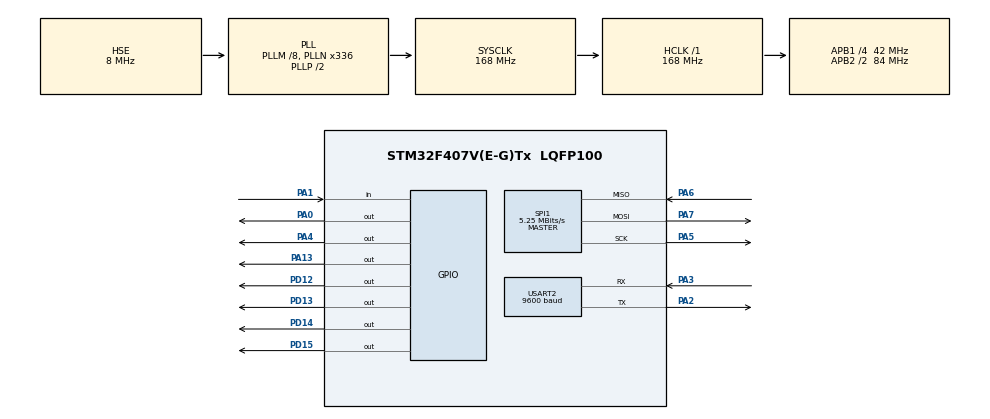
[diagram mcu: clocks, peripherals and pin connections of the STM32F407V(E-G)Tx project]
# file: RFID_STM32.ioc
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Mcu.Family=STM32F4
Mcu.Name=STM32F407V(E-G)Tx
Mcu.Package=LQFP100
NVIC.PriorityGroup=NVIC_PRIORITYGROUP_4
NVIC.USART2_IRQn=true\:0\:0\:false\:false\:true\:true
PA0-WKUP.GPIO_ModeDefaultOutputPP=GPIO_MODE_OUTPUT_PP
PA0-WKUP.GPIO_PuPd=GPIO_PULLUP
PA0-WKUP.GPIO_Speed=GPIO_SPEED_FREQ_VERY_HIGH
PA0-WKUP.PinState=GPIO_PIN_RESET
PA0-WKUP.Signal=GPIO_Output
PA1.GPIO_PuPd=GPIO_PULLUP
PA1.Signal=GPIO_Input
PA13.GPIO_ModeDefaultOutputPP=GPIO_MODE_OUTPUT_PP
PA13.GPIO_PuPd=GPIO_PULLUP
PA13.GPIO_Speed=GPIO_SPEED_FREQ_VERY_HIGH
PA13.PinState=GPIO_PIN_RESET
PA13.Signal=GPIO_Output
PA2.Mode=Asynchronous
PA2.Signal=USART2_TX
PA3.Mode=Asynchronous
PA3.Signal=USART2_RX
PA4.GPIO_ModeDefaultOutputPP=GPIO_MODE_OUTPUT_PP
PA4.GPIO_PuPd=GPIO_PULLUP
PA4.GPIO_Speed=GPIO_SPEED_FREQ_VERY_HIGH
PA4.PinState=GPIO_PIN_RESET
PA4.Signal=GPIO_Output
PA5.Mode=Full_Duplex_Master
PA5.Signal=SPI1_SCK
PA6.Mode=Full_Duplex_Master
PA6.Signal=SPI1_MISO
PA7.Mode=Full_Duplex_Master
PA7.Signal=SPI1_MOSI
PD12.GPIO_ModeDefaultOutputPP=GPIO_MODE_OUTPUT_PP
PD12.GPIO_PuPd=GPIO_PULLUP
PD12.GPIO_Speed=GPIO_SPEED_FREQ_VERY_HIGH
PD12.PinState=GPIO_PIN_RESET
PD12.Signal=GPIO_Output
PD13.GPIO_ModeDefaultOutputPP=GPIO_MODE_OUTPUT_PP
PD13.GPIO_PuPd=GPIO_PULLUP
PD13.GPIO_Speed=GPIO_SPEED_FREQ_VERY_HIGH
PD13.PinState=GPIO_PIN_RESET
PD13.Signal=GPIO_Output
PD14.GPIO_ModeDefaultOutputPP=GPIO_MODE_OUTPUT_PP
PD14.GPIO_PuPd=GPIO_PULLUP
PD14.GPIO_Speed=GPIO_SPEED_FREQ_VERY_HIGH
PD14.PinState=GPIO_PIN_RESET
PD14.Signal=GPIO_Output
PD15.GPIO_ModeDefaultOutputPP=GPIO_MODE_OUTPUT_PP
PD15.GPIO_PuPd=GPIO_PULLUP
PD15.GPIO_Speed=GPIO_SPEED_FREQ_VERY_HIGH
PD15.PinState=GPIO_PIN_RESET
PD15.Signal=GPIO_Output
PH0-OSC_IN.Mode=HSE-External-Oscillator
PH0-OSC_IN.Signal=RCC_OSC_IN
PH1-OSC_OUT.Mode=HSE-External-Oscillator
PH1-OSC_OUT.Signal=RCC_OSC_OUT
ProjectManager.HeapSize=0x200
ProjectManager.StackSize=0x400
ProjectManager.TargetToolchain=MDK-ARM V5
RCC.48MHZClocksFreq_Value=84000000
RCC.AHBFreq_Value=168000000
RCC.APB1CLKDivider=RCC_HCLK_DIV4
RCC.APB1Freq_Value=42000000
RCC.APB1TimFreq_Value=84000000
RCC.APB2CLKDivider=RCC_HCLK_DIV2
RCC.APB2Freq_Value=84000000
RCC.APB2TimFreq_Value=168000000
RCC.CortexFreq_Value=168000000
RCC.HCLKFreq_Value=168000000
RCC.HSE_VALUE=8000000
RCC.HSI_VALUE=16000000
RCC.LSE_VALUE=32768
RCC.PLLM=8
RCC.PLLN=336
RCC.PLLSourceVirtual=RCC_PLLSOURCE_HSE
RCC.SYSCLKFreq_VALUE=168000000
RCC.SYSCLKSource=RCC_SYSCLKSOURCE_PLLCLK
RCC.VCOOutputFreq_Value=336000000
SPI1.BaudRatePrescaler=SPI_BAUDRATEPRESCALER_16
SPI1.CalculateBaudRate=5.25 MBits/s
SPI1.Direction=SPI_DIRECTION_2LINES
SPI1.Mode=SPI_MODE_MASTER
SPI1.VirtualType=VM_MASTER
USART2.BaudRate=9600
USART2.VirtualMode=VM_ASYNC
board=RFID_STM32

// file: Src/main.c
/**
  ******************************************************************************
  * @file           : main.c
  * @brief          : Main program body
  ******************************************************************************
  ** This notice applies to any and all portions of this file
  * that are not between comment pairs USER CODE BEGIN and
  * USER CODE END. Other portions of this file, whether
  * inserted by the user or by software development tools
  * are owned by their respective copyright owners.
  *
  * COPYRIGHT(c) 2018 STMicroelectronics
  *
  * Redistribution and use in source and binary forms, with or without modification,
  * are permitted provided that the following conditions are met:
  *   1. Redistributions of source code must retain the above copyright notice,
  *      this list of conditions and the following disclaimer.
  *   2. Redistributions in binary form must reproduce the above copyright notice,
  *      this list of conditions and the following disclaimer in the documentation
  *      and/or other materials provided with the distribution.
  *   3. Neither the name of STMicroelectronics nor the names of its contributors
  *      may be used to endorse or promote products derived from this software
  *      without specific prior written permission.
  *
  * THIS SOFTWARE IS PROVIDED BY THE COPYRIGHT HOLDERS AND CONTRIBUTORS "AS IS"
  * AND ANY EXPRESS OR IMPLIED WARRANTIES, INCLUDING, BUT NOT LIMITED TO, THE
  * IMPLIED WARRANTIES OF MERCHANTABILITY AND FITNESS FOR A PARTICULAR PURPOSE ARE
  * DISCLAIMED. IN NO EVENT SHALL THE COPYRIGHT HOLDER OR CONTRIBUTORS BE LIABLE
  * FOR ANY DIRECT, INDIRECT, INCIDENTAL, SPECIAL, EXEMPLARY, OR CONSEQUENTIAL
  * DAMAGES (INCLUDING, BUT NOT LIMITED TO, PROCUREMENT OF SUBSTITUTE GOODS OR
  * SERVICES; LOSS OF USE, DATA, OR PROFITS; OR BUSINESS INTERRUPTION) HOWEVER
  * CAUSED AND ON ANY THEORY OF LIABILITY, WHETHER IN CONTRACT, STRICT LIABILITY,
  * OR TORT (INCLUDING NEGLIGENCE OR OTHERWISE) ARISING IN ANY WAY OUT OF THE USE
  * OF THIS SOFTWARE, EVEN IF ADVISED OF THE POSSIBILITY OF SUCH DAMAGE.
  *
  ******************************************************************************
  */
#include "main.h"
#include "stm32f4xx_hal.h"
#include"stdio.h"
#include "rc522.h"

SPI_HandleTypeDef hspi1;

UART_HandleTypeDef huart2;

/* USER CODE BEGIN PV */
/* Private variables ---------------------------------------------------------*/
uint8_t data[]="HELLO WORLD\n"; // transmit
uint8_t t=10;
// variable RFID
uint8_t dataUDP_permit[]="Ma the hop le ";
uint8_t dataUDP_deny[]="Ma the khong hop le ";
unsigned char CardID[5];
unsigned char MyID[5] = {0x6A, 0x08, 0xE7, 0xAB, 0x2E};	//My card on my keys

// RC522
uint8_t MFRC522_Check(uint8_t* id);
uint8_t MFRC522_Compare(uint8_t* CardID, uint8_t* CompareID);
void MFRC522_WriteRegister(uint8_t addr, uint8_t val);
uint8_t MFRC522_ReadRegister(uint8_t addr);
void MFRC522_SetBitMask(uint8_t reg, uint8_t mask);
void MFRC522_ClearBitMask(uint8_t reg, uint8_t mask);
uint8_t MFRC522_Request(uint8_t reqMode, uint8_t* TagType);
uint8_t MFRC522_ToCard(uint8_t command, uint8_t* sendData, uint8_t sendLen, uint8_t* backData, uint16_t* backLen);
uint8_t MFRC522_Anticoll(uint8_t* serNum);
void MFRC522_CalulateCRC(uint8_t* pIndata, uint8_t len, uint8_t* pOutData);
uint8_t MFRC522_SelectTag(uint8_t* serNum);
uint8_t MFRC522_Auth(uint8_t authMode, uint8_t BlockAddr, uint8_t* Sectorkey, uint8_t* serNum);
uint8_t MFRC522_Read(uint8_t blockAddr, uint8_t* recvData);
uint8_t MFRC522_Write(uint8_t blockAddr, uint8_t* writeData);
void MFRC522_Init(void);
void MFRC522_Reset(void);
void MFRC522_AntennaOn(void);
void MFRC522_AntennaOff(void);
void MFRC522_Halt(void);
/* USER CODE END PFP */

/* USER CODE END PV */

void SystemClock_Config(void);
static void MX_GPIO_Init(void);
static void MX_SPI1_Init(void);
static void MX_USART2_UART_Init(void);

/* USER CODE BEGIN PFP */
/* Private function prototypes -----------------------------------------------*/
#ifdef __GNUC__
 /* With GCC/RAISONANCE, small printf (option LD Linker->Libraries->Small printf
 set to 'Yes') calls __io_putchar() */
 #define PUTCHAR_PROTOTYPE int __io_putchar(int ch)
#else
 #define PUTCHAR_PROTOTYPE int fputc(int ch, FILE *f)
#endif /* __GNUC__ */

 /**
 * @brief Retargets the C library printf function to the USART.
 * @param None
 * @retval None
 */
PUTCHAR_PROTOTYPE
{
 /* Place your implementation of fputc here */
 /* e.g. write a character to the USART */
 HAL_UART_Transmit(&huart2, (uint8_t *)&ch, 1, 100);

 return ch;
}

/* USER CODE END PFP */

int main(void)
{

  /* MCU Configuration----------------------------------------------------------*/

  /* Reset of all peripherals, Initializes the Flash interface and the Systick. */
  HAL_Init();

  /* Configure the system clock */
  SystemClock_Config();

  /* Initialize all configured peripherals */
  MX_GPIO_Init();
  MX_SPI1_Init();
  MX_USART2_UART_Init();
	MFRC522_Init();

	printf("Waiting for RFID Card...!\n\r");
	HAL_Delay(1000);
  /* Infinite loop */
  while (1)
  {

  /* USER CODE BEGIN 3 */
		if (MFRC522_Check(CardID) == MI_OK)
			{
				printf( "[%02x-%02x-%02x-%02x-%02x] \r\n", CardID[0], CardID[1], CardID[2], CardID[3], CardID[4]);

			if (MFRC522_Compare(CardID, MyID) == MI_OK)
				{
					printf("(^_^) Perfect!\n\r");
					printf("[%s voi Card ID=%02x-%02x-%02x-%02x-%02x] \r\n", dataUDP_permit, CardID[0], CardID[1], CardID[2], CardID[3], CardID[4]);
				}
				else
				{
					printf("(0_0) Bad!\n\r");
					printf( "[%s voi Card ID=%02x-%02x-%02x-%02x-%02x]\r\n", dataUDP_deny, CardID[0], CardID[1], CardID[2], CardID[3], CardID[4]);
				}
				}

		  HAL_Delay(10);

  /* USER CODE END 3 */
		}

}

void SystemClock_Config(void)
{

  RCC_OscInitTypeDef RCC_OscInitStruct;
  RCC_ClkInitTypeDef RCC_ClkInitStruct;

    /**Configure the main internal regulator output voltage
    */
  __HAL_RCC_PWR_CLK_ENABLE();

  __HAL_PWR_VOLTAGESCALING_CONFIG(PWR_REGULATOR_VOLTAGE_SCALE1);

    /**Initializes the CPU, AHB and APB busses clocks
    */
  RCC_OscInitStruct.OscillatorType = RCC_OSCILLATORTYPE_HSE;
  RCC_OscInitStruct.HSEState = RCC_HSE_ON;
  RCC_OscInitStruct.PLL.PLLState = RCC_PLL_ON;
  RCC_OscInitStruct.PLL.PLLSource = RCC_PLLSOURCE_HSE;
  RCC_OscInitStruct.PLL.PLLM = 8;
  RCC_OscInitStruct.PLL.PLLN = 336;
  RCC_OscInitStruct.PLL.PLLP = RCC_PLLP_DIV2;
  RCC_OscInitStruct.PLL.PLLQ = 4;
  if (HAL_RCC_OscConfig(&RCC_OscInitStruct) != HAL_OK)
  {
    _Error_Handler(__FILE__, __LINE__);
  }

    /**Initializes the CPU, AHB and APB busses clocks
    */
  RCC_ClkInitStruct.ClockType = RCC_CLOCKTYPE_HCLK|RCC_CLOCKTYPE_SYSCLK
                              |RCC_CLOCKTYPE_PCLK1|RCC_CLOCKTYPE_PCLK2;
  RCC_ClkInitStruct.SYSCLKSource = RCC_SYSCLKSOURCE_PLLCLK;
  RCC_ClkInitStruct.AHBCLKDivider = RCC_SYSCLK_DIV1;
  RCC_ClkInitStruct.APB1CLKDivider = RCC_HCLK_DIV4;
  RCC_ClkInitStruct.APB2CLKDivider = RCC_HCLK_DIV2;

  if (HAL_RCC_ClockConfig(&RCC_ClkInitStruct, FLASH_LATENCY_5) != HAL_OK)
  {
    _Error_Handler(__FILE__, __LINE__);
  }

    /**Configure the Systick interrupt time
    */
  HAL_SYSTICK_Config(HAL_RCC_GetHCLKFreq()/1000);

    /**Configure the Systick
    */
  HAL_SYSTICK_CLKSourceConfig(SYSTICK_CLKSOURCE_HCLK);

  /* SysTick_IRQn interrupt configuration */
  HAL_NVIC_SetPriority(SysTick_IRQn, 0, 0);
}

/* SPI1 init function */
static void MX_SPI1_Init(void)
{

  /* SPI1 parameter configuration*/
  hspi1.Instance = SPI1;
  hspi1.Init.Mode = SPI_MODE_MASTER;
  hspi1.Init.Direction = SPI_DIRECTION_2LINES;
  hspi1.Init.DataSize = SPI_DATASIZE_8BIT;
  hspi1.Init.CLKPolarity = SPI_POLARITY_LOW;
  hspi1.Init.CLKPhase = SPI_PHASE_1EDGE;
  hspi1.Init.NSS = SPI_NSS_SOFT;
  hspi1.Init.BaudRatePrescaler = SPI_BAUDRATEPRESCALER_16;
  hspi1.Init.FirstBit = SPI_FIRSTBIT_MSB;
  hspi1.Init.TIMode = SPI_TIMODE_DISABLE;
  hspi1.Init.CRCCalculation = SPI_CRCCALCULATION_DISABLE;
  hspi1.Init.CRCPolynomial = 10;
  if (HAL_SPI_Init(&hspi1) != HAL_OK)
  {
    _Error_Handler(__FILE__, __LINE__);
  }

}

/* USART2 init function */
static void MX_USART2_UART_Init(void)
{

  huart2.Instance = USART2;
  huart2.Init.BaudRate = 9600;
  huart2.Init.WordLength = UART_WORDLENGTH_8B;
  huart2.Init.StopBits = UART_STOPBITS_1;
  huart2.Init.Parity = UART_PARITY_NONE;
  huart2.Init.Mode = UART_MODE_TX_RX;
  huart2.Init.HwFlowCtl = UART_HWCONTROL_NONE;
  huart2.Init.OverSampling = UART_OVERSAMPLING_16;
  if (HAL_UART_Init(&huart2) != HAL_OK)
  {
    _Error_Handler(__FILE__, __LINE__);
  }

}

/** Configure pins as
        * Analog
        * Input
        * Output
        * EVENT_OUT
        * EXTI
*/
static void MX_GPIO_Init(void)
{

  GPIO_InitTypeDef GPIO_InitStruct;

  /* GPIO Ports Clock Enable */
  __HAL_RCC_GPIOH_CLK_ENABLE();
  __HAL_RCC_GPIOA_CLK_ENABLE();
  __HAL_RCC_GPIOD_CLK_ENABLE();

  /*Configure GPIO pin Output Level */
  HAL_GPIO_WritePin(GPIOA, GPIO_PIN_0|GPIO_PIN_4|GPIO_PIN_13, GPIO_PIN_RESET);

  /*Configure GPIO pin Output Level */
  HAL_GPIO_WritePin(GPIOD, GPIO_PIN_12|GPIO_PIN_13|GPIO_PIN_14|GPIO_PIN_15, GPIO_PIN_RESET);

  /*Configure GPIO pins : PA0 PA4 PA13 */
  GPIO_InitStruct.Pin = GPIO_PIN_0|GPIO_PIN_4|GPIO_PIN_13;
  GPIO_InitStruct.Mode = GPIO_MODE_OUTPUT_PP;
  GPIO_InitStruct.Pull = GPIO_PULLUP;
  GPIO_InitStruct.Speed = GPIO_SPEED_FREQ_VERY_HIGH;
  HAL_GPIO_Init(GPIOA, &GPIO_InitStruct);

  /*Configure GPIO pin : PA1 */
  GPIO_InitStruct.Pin = GPIO_PIN_1;
  GPIO_InitStruct.Mode = GPIO_MODE_INPUT;
  GPIO_InitStruct.Pull = GPIO_PULLUP;
  HAL_GPIO_Init(GPIOA, &GPIO_InitStruct);

  /*Configure GPIO pins : PD12 PD13 PD14 PD15 */
  GPIO_InitStruct.Pin = GPIO_PIN_12|GPIO_PIN_13|GPIO_PIN_14|GPIO_PIN_15;
  GPIO_InitStruct.Mode = GPIO_MODE_OUTPUT_PP;
  GPIO_InitStruct.Pull = GPIO_PULLUP;
  GPIO_InitStruct.Speed = GPIO_SPEED_FREQ_VERY_HIGH;
  HAL_GPIO_Init(GPIOD, &GPIO_InitStruct);

}

void _Error_Handler(char *file, int line)
{
  while(1)
  {
  }
}

/************************ (C) COPYRIGHT STMicroelectronics *****END OF FILE****/
